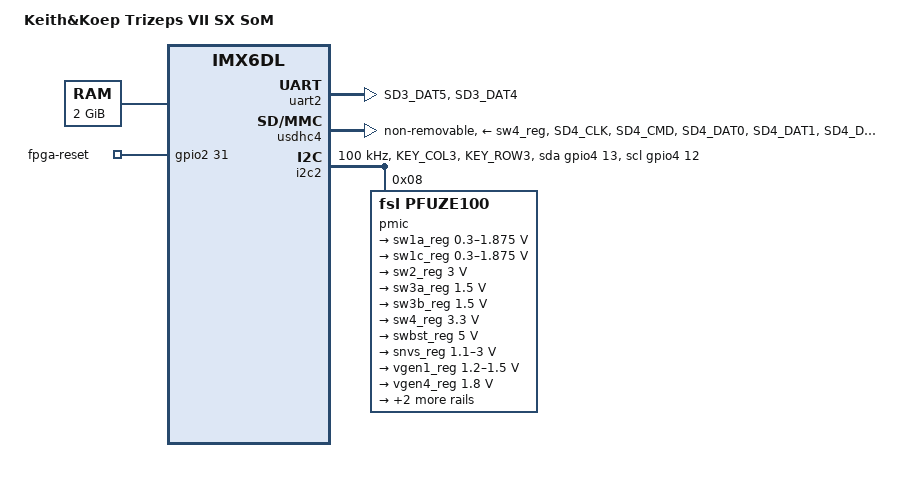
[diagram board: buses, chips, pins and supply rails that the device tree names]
// SPDX-License-Identifier: GPL-2.0
/*
 * Copyright (C) 2020 Kai Ruhnau <kai.ruhnau@target-sg.com>
 */

/dts-v1/;

#include "imx6dl.dtsi"

/ {
	model = "Keith&Koep Trizeps VII SX SoM";
	compatible = "keithkoep,imx6dl-trizeps-vii", "fsl,imx6dl";

	memory@10000000 {
		reg = <0x10000000 0x80000000>;
	};

	leds {
		compatible = "gpio-leds";
		pinctrl-names = "default";
		pinctrl-0 = <&pinctrl_leds>;

		fpga-reset {
			label = "fpga-reset";
			gpios = <&gpio2 31 0>;
		};
	};
};

&uart2 {
	pinctrl-names = "default";
	pinctrl-0 = <&pinctrl_uart2>;
	status = "okay";
};

&usdhc4 {
	pinctrl-names = "default";
	pinctrl-0 = <&pinctrl_usdhc4>;
	vmmc-supply = <&sw4_reg>;
	no-1-8-v;
	non-removable;
	status = "okay";
};

&i2c2 {
	clock-frequency = <100000>;
	pinctrl-names = "default", "gpio";
	pinctrl-0 = <&pinctrl_i2c2>;
	pinctrl-1 = <&pinctrl_i2c2_gpio>;
	sda-gpios = <&gpio4 13 0>;
	scl-gpios = <&gpio4 12 0>;
	status = "okay";

	pmic: pfuze100@8 {
		compatible = "fsl,pfuze100";
		reg = <0x08>;

		regulators {
			sw1a_reg: sw1ab {
				regulator-min-microvolt = <300000>;
				regulator-max-microvolt = <1875000>;
				regulator-boot-on;
				regulator-always-on;
				regulator-ramp-delay = <6250>;
			};

			sw1c_reg: sw1c {
				regulator-min-microvolt = <300000>;
				regulator-max-microvolt = <1875000>;
				regulator-boot-on;
				regulator-always-on;
				regulator-ramp-delay = <6250>;
			};

			sw2_reg: sw2 {
				regulator-min-microvolt = <3000000>;
				regulator-max-microvolt = <3000000>;
				regulator-boot-on;
				regulator-always-on;
			};

			sw3a_reg: sw3a {
				regulator-min-microvolt = <1500000>;
				regulator-max-microvolt = <1500000>;
				regulator-boot-on;
				regulator-always-on;
			};

			sw3b_reg: sw3b {
				regulator-min-microvolt = <1500000>;
				regulator-max-microvolt = <1500000>;
				regulator-boot-on;
				regulator-always-on;
			};

			sw4_reg: sw4 {
				regulator-min-microvolt = <3300000>;
				regulator-max-microvolt = <3300000>;
			};

			swbst_reg: swbst {
				regulator-min-microvolt = <5000000>;
				regulator-max-microvolt = <5000000>;
			};

			snvs_reg: vsnvs {
				regulator-min-microvolt = <1100000>;
				regulator-max-microvolt = <3000000>;
				regulator-boot-on;
				regulator-always-on;
			};

			vref_reg: vrefddr {
				regulator-boot-on;
				regulator-always-on;
			};

			vgen1_reg: vgen1 {
				regulator-min-microvolt = <1200000>;
				regulator-max-microvolt = <1500000>;
			};

			vgen4_reg: vgen4 {
				regulator-min-microvolt = <1800000>;
				regulator-max-microvolt = <1800000>;
				regulator-always-on;
			};

			vgen5_reg: vgen5 {
				regulator-min-microvolt = <3300000>;
				regulator-max-microvolt = <3300000>;
				regulator-always-on;
			};

			vgen6_reg: vgen6 {
				regulator-min-microvolt = <2500000>;
				regulator-max-microvolt = <2500000>;
				regulator-always-on;
			};
		};
	};
};

&iomuxc {
	imx6dl-trizeps-vii-dl {
		pinctrl_leds: leds-grp {
			fsl,pins = <
				MX6QDL_PAD_EIM_EB3__GPIO2_IO31	0x10b0
			>;
		};

		pinctrl_uart2: uart2-grp {
			fsl,pins = <
				MX6QDL_PAD_SD3_DAT5__UART2_TX_DATA		0x1b0b1
				MX6QDL_PAD_SD3_DAT4__UART2_RX_DATA		0x1b0b1
			>;
		};

		pinctrl_usdhc4: usdhc4-grp {
			fsl,pins = <
				MX6QDL_PAD_SD4_CLK__SD4_CLK	0x1f019
				MX6QDL_PAD_SD4_CMD__SD4_CMD	0x1f019
				MX6QDL_PAD_SD4_DAT0__SD4_DATA0	0x1f019
				MX6QDL_PAD_SD4_DAT1__SD4_DATA1	0x1f019
				MX6QDL_PAD_SD4_DAT2__SD4_DATA2	0x1f019
				MX6QDL_PAD_SD4_DAT3__SD4_DATA3	0x1f019
				MX6QDL_PAD_SD4_DAT4__SD4_DATA4	0x1f019
				MX6QDL_PAD_SD4_DAT5__SD4_DATA5	0x1f019
				MX6QDL_PAD_SD4_DAT6__SD4_DATA6	0x1f019
				MX6QDL_PAD_SD4_DAT7__SD4_DATA7	0x1f019
				MX6QDL_PAD_NANDF_ALE__SD4_RESET	0x1f019
			>;
		};

		pinctrl_i2c2: i2c2-grp {
			fsl,pins = <
				MX6QDL_PAD_KEY_COL3__I2C2_SCL	0x4001b8b1
				MX6QDL_PAD_KEY_ROW3__I2C2_SDA	0x4001b8b1
			>;
		};

		pinctrl_i2c2_gpio: i2c2-gpio-grp {
			fsl,pins = <
				MX6QDL_PAD_KEY_COL3__GPIO4_IO12	0x4001b8b1
				MX6QDL_PAD_KEY_ROW3__GPIO4_IO13	0x4001b8b1
			>;
		};
	};
};
